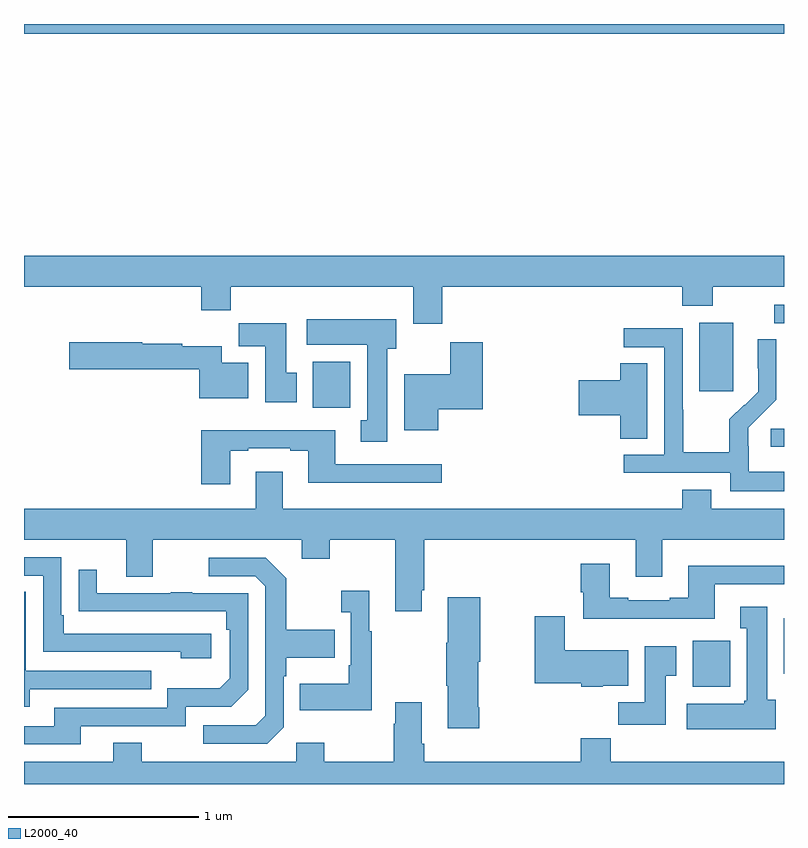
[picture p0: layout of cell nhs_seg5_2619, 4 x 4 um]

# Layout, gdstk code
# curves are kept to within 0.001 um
import gdstk
lib = gdstk.Library(unit=1e-6, precision=1e-09)
def R(c, l, rs):  # rectangles x0, y0, x1, y1
    for r in rs: c.add(gdstk.rectangle(r[:2], r[2:], *l))
def P(c, l, *ps):  # polygons
    for p in ps: c.add(gdstk.Polygon(p, *l))
L2000_40 = (2000, 40)

nhs_seg5_2619 = lib.new_cell('nhs_seg5_2619')
R(nhs_seg5_2619, L2000_40, [(266.519,865.31,266.716,865.552), (266.999,865.38,267,865.672), (266.931,866.573,267,866.67), (264.521,866.78,264.718,867.022), (266.555,866.865,266.734,867.226), (266.949,867.225,267,867.321), (263,868.748,267,868.799)])
P(nhs_seg5_2619, L2000_40, [(265.202,867.416),(266.465,867.416),(266.465,867.317),(266.625,867.317),(266.625,867.416),(267,867.416),(267,867.58),(263,867.58),(263,867.416),(263.933,867.416),(263.933,867.292),(264.089,867.292),(264.089,867.416),(265.049,867.416),(265.049,867.222),(265.202,867.222)],
  [(264.913,867.09),(264.958,867.09),(264.958,867.244),(264.489,867.244),(264.489,867.11),(264.806,867.11),(264.806,866.714),(264.773,866.714),(264.773,866.601),(264.913,866.601)],
  [(264.436,866.964),(264.379,866.964),(264.379,867.223),(264.13,867.223),(264.13,867.104),(264.269,867.104),(264.269,866.808),(264.436,866.808)],
  [(267,866.443),(266.814,866.443),(266.814,866.577),(266.812,866.577),(266.812,866.674),(266.958,866.822),(266.958,867.14),(266.862,867.14),(266.862,866.986),(266.864,866.986),(266.864,866.864),(266.793,866.793),(266.79,866.796),(266.713,866.719),(266.713,866.545),(266.469,866.545),(266.469,866.768),(266.466,866.768),(266.466,867.198),(266.157,867.198),(266.157,867.099),(266.37,867.099),(266.37,866.532),(266.157,866.532),(266.157,866.436),(266.718,866.436),(266.718,866.339),(267,866.339)],
  [(265.18,866.771),(265.415,866.771),(265.415,867.124),(265.244,867.124),(265.244,866.956),(265.001,866.956),(265.001,866.66),(265.18,866.66)],
  [(264.181,867.016),(264.04,867.016),(264.04,867.104),(263.834,867.104),(263.834,867.115),(263.622,867.115),(263.622,867.123),(263.238,867.123),(263.238,866.981),(263.923,866.981),(263.923,866.828),(264.181,866.828)],
  [(266.281,867.014),(266.138,867.014),(266.138,866.924),(265.92,866.924),(265.92,866.741),(266.138,866.741),(266.138,866.617),(266.281,866.617)],
  [(264.085,866.553),(264.181,866.553),(264.181,866.565),(264.401,866.565),(264.401,866.553),(264.497,866.553),(264.497,866.384),(265.198,866.384),(265.198,866.481),(264.637,866.481),(264.637,866.662),(263.933,866.662),(263.933,866.376),(264.085,866.376)],
  [(265.093,865.819),(265.106,865.819),(265.106,866.084),(266.219,866.084),(266.219,865.89),(266.359,865.89),(266.359,866.084),(267,866.084),(267,866.248),(266.617,866.248),(266.617,866.347),(266.465,866.347),(266.465,866.248),(264.361,866.248),(264.361,866.443),(264.221,866.443),(264.221,866.248),(263,866.248),(263,866.084),(263.537,866.084),(263.537,865.89),(263.677,865.89),(263.677,866.084),(264.461,866.084),(264.461,865.985),(264.609,865.985),(264.609,866.084),(264.953,866.084),(264.953,865.707),(265.093,865.707)],
  [(263.986,865.59),(263.209,865.59),(263.209,865.687),(263.196,865.687),(263.196,865.992),(263,865.992),(263,865.896),(263.1,865.896),(263.1,865.494),(263.825,865.494),(263.825,865.46),(263.986,865.46)],
  [(264.366,865.098),(264.366,865.367),(264.379,865.367),(264.379,865.463),(264.635,865.463),(264.635,865.611),(264.379,865.611),(264.379,865.883),(264.273,865.989),(263.973,865.989),(263.973,865.893),(264.216,865.893),(264.27,865.839),(264.27,865.158),(264.219,865.107),(263.943,865.107),(263.943,865.011),(264.279,865.011)],
  [(266.635,865.851),(267,865.851),(267,865.948),(266.495,865.948),(266.495,865.78),(266.399,865.78),(266.399,865.767),(266.179,865.767),(266.179,865.78),(266.083,865.78),(266.083,865.957),(265.931,865.957),(265.931,865.809),(265.943,865.809),(265.943,865.67),(266.635,865.67)],
  [(263.299,865.104),(263.85,865.104),(263.85,865.206),(264.09,865.206),(264.18,865.296),(264.18,865.803),(263.885,865.803),(263.885,865.808),(263.773,865.808),(263.773,865.803),(263.383,865.803),(263.383,865.927),(263.287,865.927),(263.287,865.708),(264.064,865.707),(264.064,865.61),(264.084,865.61),(264.084,865.356),(264.031,865.303),(263.754,865.303),(263.754,865.2),(263.159,865.2),(263.159,865.104),(263,865.104),(263,865.008),(263.299,865.008)],
  [(264.829,865.603),(264.817,865.603),(264.817,865.816),(264.669,865.816),(264.669,865.703),(264.72,865.703),(264.72,865.423),(264.708,865.423),(264.708,865.327),(264.451,865.327),(264.451,865.187),(264.829,865.187)],
  [(263.029,865.299),(263.669,865.299),(263.669,865.395),(263.01,865.395),(263.01,865.811),(263,865.811),(263,865.205),(263.029,865.205)],
  [(265.397,865.204),(265.392,865.204),(265.392,865.443),(265.402,865.443),(265.402,865.783),(265.229,865.783),(265.229,865.543),(265.222,865.543),(265.222,865.315),(265.229,865.315),(265.229,865.092),(265.397,865.092)],
  [(266.956,865.242),(266.911,865.242),(266.911,865.732),(266.771,865.732),(266.771,865.619),(266.804,865.619),(266.804,865.236),(266.791,865.236),(266.791,865.222),(266.487,865.222),(266.487,865.088),(266.956,865.088)],
  [(266.046,865.316),(266.179,865.316),(266.179,865.504),(265.846,865.504),(265.846,865.681),(265.688,865.681),(265.688,865.328),(265.932,865.328),(265.932,865.31),(266.046,865.31)],
  [(266.377,865.369),(266.434,865.369),(266.434,865.525),(266.267,865.525),(266.267,865.228),(266.128,865.228),(266.128,865.11),(266.377,865.11)],
  [(267,864.916),(266.087,864.916),(266.087,865.04),(265.931,865.04),(265.931,864.916),(265.106,864.916),(265.106,865.012),(265.093,865.012),(265.093,865.228),(264.953,865.228),(264.953,865.115),(264.946,865.115),(264.946,864.916),(264.579,864.916),(264.579,865.015),(264.432,865.015),(264.432,864.916),(263.619,864.916),(263.619,865.015),(263.471,865.015),(263.471,864.916),(263,864.916),(263,864.799),(267,864.799)])

lib.write_gds('nhs_seg5_2619.gds')
